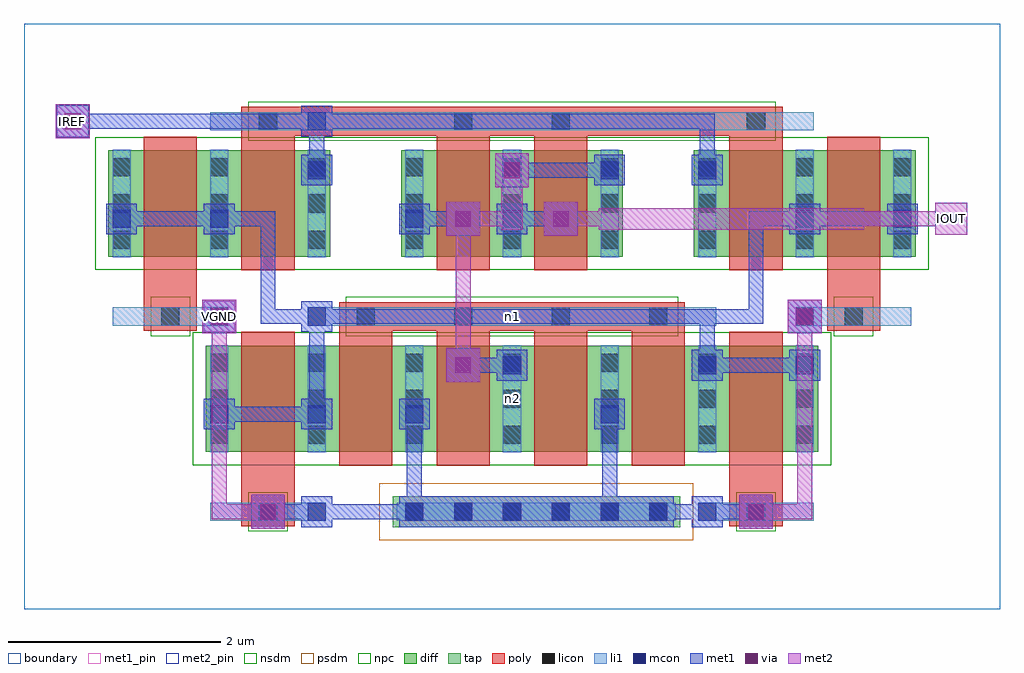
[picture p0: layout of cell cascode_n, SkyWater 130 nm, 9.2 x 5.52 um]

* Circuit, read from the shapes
.subckt cascode_n IOUT IREF VGND n1 n2
XM1 n1 VGND n1 VGND sky130_fd_pr__nfet_01v8 w=1 l=0.5 m=4
XM2 IREF IREF n1 VGND sky130_fd_pr__nfet_01v8 w=1 l=0.5 m=2
XM3 VGND n1 n1 VGND sky130_fd_pr__nfet_01v8 w=1 l=0.5 m=2
XM4 n2 n1 VGND VGND sky130_fd_pr__nfet_01v8 w=1 l=0.5 m=2
XM5 IOUT IREF n2 VGND sky130_fd_pr__nfet_01v8 w=1 l=0.5 m=2
.ends

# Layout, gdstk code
import gdstk
lib = gdstk.Library(unit=1e-6, precision=1e-09)
def R(c, l, rs):  # rectangles x0, y0, x1, y1
    for r in rs: c.add(gdstk.rectangle(r[:2], r[2:], *l))
def A(c, l, x, y, w, h, nx, ny, dx, dy):  # array of equal rectangles
    R(c, l, [(x+i*dx, y+j*dy, x+i*dx+w, y+j*dy+h) for i in range(nx) for j in range(ny)])
diff = (65, 20)
tap = (65, 44)
poly = (66, 20)
licon = (66, 44)
li1 = (67, 20)
mcon = (67, 44)
met1_pin = (68, 16)
met1 = (68, 20)
via = (68, 44)
met2_pin = (69, 16)
met2 = (69, 20)
nsdm = (93, 44)
psdm = (94, 20)
npc = (95, 20)
boundary = (235, 4)

cascode_n = lib.new_cell('cascode_n')
A(cascode_n, diff, 0.795, 3.325, 2.09, 1, 3, 1, 2.76, 0)
R(cascode_n, diff, [(1.715,1.485,7.485,2.485)])
R(cascode_n, tap, [(3.475,0.775,6.185,1.065)])
A(cascode_n, poly, 2.97, 1.355, 0.5, 1.405, 4, 1, 0.92, 0)
R(cascode_n, poly, [(2.05,0.785,2.55,1.055), (6.65,0.785,7.15,1.055), (2.05,0.92,2.55,2.615), (6.65,0.92,7.15,2.615), (1.13,2.625,1.63,2.895), (2.97,2.625,6.23,2.895), (7.57,2.625,8.07,2.895), (1.13,2.76,1.63,4.455), (7.57,2.76,8.07,4.455), (2.05,3.195,2.55,4.6), (3.89,3.195,4.39,4.6), (4.81,3.195,5.31,4.6), (6.65,3.195,7.15,4.6), (2.05,4.465,7.15,4.735)])
A(cascode_n, licon, 3.595, 0.835, 0.17, 0.17, 6, 1, 0.46, 0)
A(cascode_n, licon, 1.755, 1.56, 0.17, 0.17, 7, 3, 0.92, 0.34)
A(cascode_n, licon, 3.135, 2.675, 0.17, 0.17, 4, 1, 0.92, 0)
A(cascode_n, licon, 0.835, 3.4, 0.17, 0.17, 9, 3, 0.92, 0.34)
R(cascode_n, licon, [(2.215,0.835,2.385,1.005), (6.815,0.835,6.985,1.005), (1.295,2.675,1.465,2.845), (7.735,2.675,7.905,2.845), (2.215,4.515,2.385,4.685), (4.055,4.515,4.225,4.685), (4.975,4.515,5.145,4.685), (6.815,4.515,6.985,4.685)])
A(cascode_n, li1, 1.755, 1.48, 0.17, 1.01, 7, 1, 0.92, 0)
A(cascode_n, li1, 0.835, 3.32, 0.17, 1.01, 9, 1, 0.92, 0)
R(cascode_n, li1, [(1.755,0.835,2.845,1.005), (3.515,0.835,6.145,1.005), (6.355,0.835,7.445,1.005), (0.835,2.675,1.925,2.845), (2.675,2.675,6.525,2.845), (7.275,2.675,8.365,2.845), (1.755,4.515,7.445,4.685)])
A(cascode_n, mcon, 3.595, 0.835, 0.17, 0.17, 7, 1, 0.46, 0)
A(cascode_n, mcon, 1.755, 1.755, 0.17, 0.17, 3, 1, 0.92, 0)
R(cascode_n, mcon, [(2.675,0.835,2.845,1.005), (5.435,1.755,5.605,1.925), (4.515,2.215,4.685,2.385), (6.355,2.215,6.525,2.385), (7.275,2.215,7.445,2.385), (1.755,2.675,1.925,2.845), (2.675,2.675,2.845,2.845), (7.275,2.675,7.445,2.845), (0.835,3.595,1.005,3.765), (1.755,3.595,1.925,3.765), (3.595,3.595,3.765,3.765), (4.515,3.595,4.685,3.765), (7.275,3.595,7.445,3.765), (8.195,3.595,8.365,3.765), (2.675,4.055,2.845,4.225), (5.435,4.055,5.605,4.225), (6.355,4.055,6.525,4.225), (2.675,4.515,2.845,4.685)])
R(cascode_n, met1_pin, [(1.695,2.615,1.985,2.905)])
A(cascode_n, met1, 1.695, 1.695, 0.29, 0.29, 3, 1, 0.92, 0)
R(cascode_n, met1, [(2.14,0.76,2.46,1.08), (6.74,0.76,7.06,1.08), (2.615,0.775,2.905,1.065), (3.535,0.775,6.125,1.065), (6.295,0.775,6.585,1.065), (2.23,0.85,2.83,0.99), (2.69,0.85,3.75,0.99), (3.61,0.85,3.75,0.99), (3.61,0.85,3.75,1.91), (3.61,0.85,5.59,0.99), (5.45,0.85,5.59,1.91), (5.45,0.85,6.51,0.99), (6.37,0.85,6.97,0.99), (5.375,1.695,5.665,1.985), (1.77,1.77,2.83,1.91), (2.69,1.77,2.83,2.83), (3.98,2.14,4.3,2.46), (4.455,2.155,4.745,2.445), (6.295,2.155,6.585,2.445), (7.215,2.155,7.505,2.445), (4.07,2.23,4.67,2.37), (6.37,2.23,7.43,2.37), (6.37,2.23,6.51,2.83), (1.68,2.6,2,2.92), (7.2,2.6,7.52,2.92), (1.695,2.615,1.985,2.905), (2.615,2.615,2.905,2.905), (7.215,2.615,7.505,2.905), (2.23,2.69,2.37,3.75), (2.23,2.69,2.83,2.83), (2.69,2.69,6.51,2.83), (6.37,2.69,6.97,2.83), (6.83,2.69,6.97,3.75), (3.98,3.52,4.3,3.84), (4.9,3.52,5.22,3.84), (0.775,3.535,1.065,3.825), (1.695,3.535,1.985,3.825), (3.535,3.535,3.825,3.825), (4.455,3.535,4.745,3.825), (7.215,3.535,7.505,3.825), (8.135,3.535,8.425,3.825), (0.85,3.61,1.91,3.75), (1.77,3.61,2.37,3.75), (3.61,3.61,4.21,3.75), (4.53,3.61,5.13,3.75), (6.83,3.61,7.43,3.75), (7.29,3.61,8.35,3.75), (4.44,3.98,4.76,4.3), (2.615,3.995,2.905,4.285), (5.375,3.995,5.665,4.285), (6.295,3.995,6.585,4.285), (2.69,4.07,2.83,4.67), (4.53,4.07,5.59,4.21), (6.37,4.07,6.51,4.67), (0.3,4.44,0.62,4.76), (2.615,4.455,2.905,4.745), (0.39,4.53,2.83,4.67), (2.69,4.53,6.51,4.67)])
R(cascode_n, via, [(2.225,0.845,2.375,0.995), (6.825,0.845,6.975,0.995), (4.065,2.225,4.215,2.375), (1.765,2.685,1.915,2.835), (7.285,2.685,7.435,2.835), (4.065,3.605,4.215,3.755), (4.985,3.605,5.135,3.755), (4.525,4.065,4.675,4.215), (0.385,4.525,0.535,4.675)])
R(cascode_n, met2_pin, [(8.59,3.53,8.89,3.83), (0.31,4.45,0.61,4.75)])
R(cascode_n, met2, [(2.14,0.76,2.46,1.08), (6.74,0.76,7.06,1.08), (1.77,0.85,2.37,0.99), (1.77,0.85,1.91,2.83), (6.83,0.85,7.43,0.99), (7.29,0.85,7.43,2.83), (3.98,2.14,4.3,2.46), (4.07,2.23,4.21,3.75), (1.68,2.6,2,2.92), (7.2,2.6,7.52,2.92), (3.98,3.52,4.3,3.84), (4.9,3.52,5.22,3.84), (8.59,3.53,8.89,3.83), (4.5,3.58,4.7,4.24), (5.42,3.58,7.92,3.78), (4.07,3.61,4.67,3.75), (4.99,3.61,5.59,3.75), (7.75,3.61,8.81,3.75), (8.67,3.61,8.81,3.75), (4.44,3.98,4.76,4.3), (0.3,4.44,0.62,4.76), (0.31,4.45,0.61,4.75), (0.39,4.53,0.53,4.67)])
R(cascode_n, nsdm, [(1.59,1.36,7.61,2.61), (0.67,3.2,8.53,4.45)])
R(cascode_n, psdm, [(3.35,0.65,6.31,1.19)])
R(cascode_n, npc, [(2.115,0.735,2.485,1.105), (6.715,0.735,7.085,1.105), (1.195,2.575,1.565,2.945), (3.035,2.575,6.165,2.945), (7.635,2.575,8.005,2.945), (2.115,4.415,7.085,4.785)])
R(cascode_n, boundary, [(0,0,9.2,5.52)])
cascode_n.add(gdstk.Label('n1', (4.6,2.76), layer=67, texttype=5))
cascode_n.add(gdstk.Label('n2', (4.6,1.985), layer=67, texttype=5))
cascode_n.add(gdstk.Label('VGND', (1.84,2.76), layer=68, texttype=5))
cascode_n.add(gdstk.Label('IREF', (0.46,4.6), layer=69, texttype=5))
cascode_n.add(gdstk.Label('IOUT', (8.74,3.68), layer=69, texttype=5))
cascode_n.add(gdstk.Label('VGND', (1.84,2.76), layer=68, texttype=16))
cascode_n.add(gdstk.Label('IREF', (0.46,4.6), layer=69, texttype=16))
cascode_n.add(gdstk.Label('IOUT', (8.74,3.68), layer=69, texttype=16))

lib.write_gds('cascode_n.gds')
